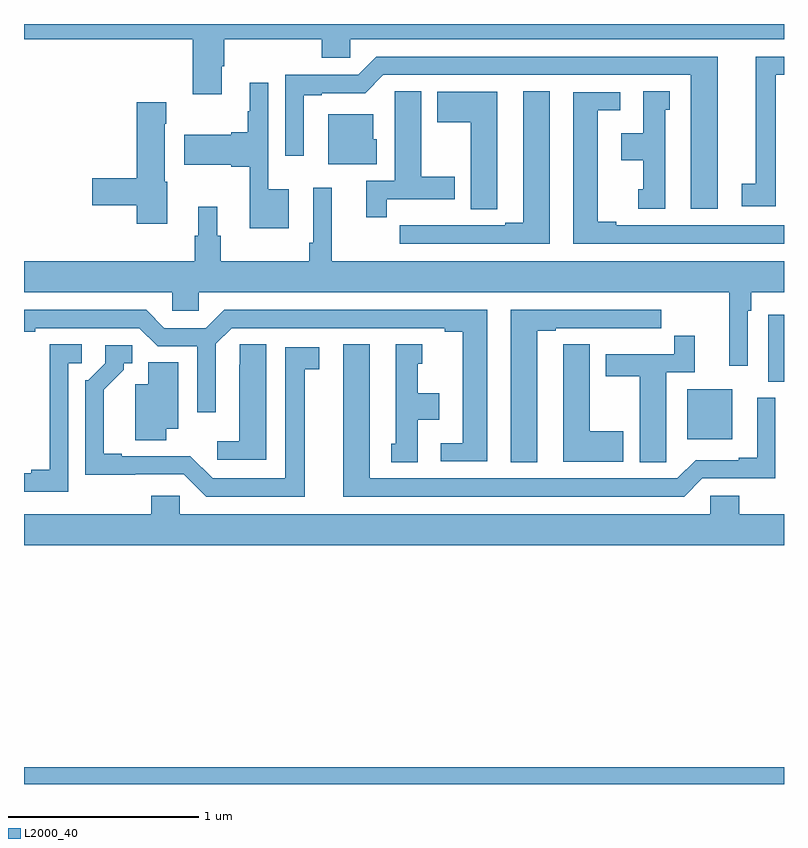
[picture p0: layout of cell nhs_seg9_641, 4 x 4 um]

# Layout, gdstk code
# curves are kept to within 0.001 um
import gdstk
lib = gdstk.Library(unit=1e-6, precision=1e-09)
def R(c, l, rs):  # rectangles x0, y0, x1, y1
    for r in rs: c.add(gdstk.rectangle(r[:2], r[2:], *l))
def P(c, l, *ps):  # polygons
    for p in ps: c.add(gdstk.Polygon(p, *l))
L2000_40 = (2000, 40)

nhs_seg9_641 = lib.new_cell('nhs_seg9_641')
R(nhs_seg9_641, L2000_40, [(143,1192.5,147,1192.588), (146.492,1194.314,146.728,1194.577), (146.918,1194.617,147,1194.97)])
P(nhs_seg9_641, L2000_40, [(144.04,1196.278),(144.053,1196.278),(144.053,1196.42),(144.566,1196.42),(144.566,1196.322),(144.717,1196.322),(144.717,1196.42),(147,1196.42),(147,1196.5),(143,1196.5),(143,1196.42),(143.888,1196.42),(143.888,1196.13),(144.04,1196.13)],
  [(146.65,1196.328),(144.855,1196.328),(144.759,1196.232),(144.375,1196.232),(144.375,1195.806),(144.472,1195.806),(144.472,1196.124),(144.568,1196.124),(144.568,1196.136),(144.795,1196.136),(144.891,1196.232),(146.51,1196.232),(146.51,1195.527),(146.65,1195.527)],
  [(146.956,1196.232),(147,1196.232),(147,1196.328),(146.852,1196.328),(146.852,1195.658),(146.778,1195.658),(146.778,1195.542),(146.956,1195.542)],
  [(144.394,1195.63),(144.285,1195.63),(144.285,1196.191),(144.188,1196.191),(144.188,1196.042),(144.177,1196.042),(144.177,1195.931),(144.092,1195.931),(144.092,1195.918),(143.844,1195.918),(143.844,1195.76),(144.092,1195.76),(144.092,1195.748),(144.188,1195.748),(144.188,1195.424),(144.394,1195.424)],
  [(144.908,1195.578),(145.267,1195.578),(145.267,1195.695),(145.09,1195.695),(145.09,1196.147),(144.951,1196.147),(144.951,1196.036),(144.95,1196.036),(144.95,1195.674),(144.8,1195.674),(144.8,1195.482),(144.908,1195.482)],
  [(146.374,1196.049),(146.398,1196.049),(146.398,1196.147),(146.258,1196.147),(146.258,1195.924),(146.144,1195.924),(146.144,1195.784),(146.258,1195.784),(146.258,1195.629),(146.234,1195.629),(146.234,1195.527),(146.374,1195.527)],
  [(145.768,1196.147),(145.628,1196.147),(145.628,1195.455),(145.532,1195.455),(145.532,1195.44),(145.256,1195.44),(145.256,1195.441),(145.09,1195.441),(145.09,1195.44),(144.978,1195.44),(144.978,1195.344),(145.768,1195.344)],
  [(145.491,1195.633),(145.492,1195.633),(145.492,1196.143),(145.175,1196.143),(145.175,1195.984),(145.352,1195.984),(145.352,1195.525),(145.491,1195.525)],
  [(147,1195.44),(146.116,1195.44),(146.116,1195.46),(146.02,1195.46),(146.02,1196.046),(146.137,1196.046),(146.137,1196.142),(145.892,1196.142),(145.892,1195.344),(147,1195.344)],
  [(143.754,1195.671),(143.74,1195.671),(143.74,1195.976),(143.748,1195.976),(143.748,1196.089),(143.594,1196.089),(143.594,1195.688),(143.358,1195.688),(143.358,1195.546),(143.594,1195.546),(143.594,1195.448),(143.754,1195.448)],
  [(144.856,1195.893),(144.838,1195.893),(144.838,1196.026),(144.602,1196.026),(144.602,1195.763),(144.856,1195.763)],
  [(146.808,1194.992),(146.828,1194.992),(146.828,1195.088),(147,1195.088),(147,1195.252),(144.62,1195.252),(144.62,1195.639),(144.522,1195.639),(144.522,1195.348),(144.502,1195.348),(144.502,1195.252),(144.035,1195.252),(144.035,1195.386),(144.016,1195.386),(144.016,1195.537),(143.918,1195.537),(143.918,1195.386),(143.899,1195.386),(143.899,1195.252),(143,1195.252),(143,1195.088),(143.781,1195.088),(143.781,1194.99),(143.919,1194.99),(143.919,1195.088),(146.711,1195.088),(146.711,1194.702),(146.808,1194.702)],
  [(145.438,1194.996),(144.053,1194.996),(143.957,1194.9),(143.739,1194.9),(143.643,1194.996),(143,1194.996),(143,1194.88),(143.059,1194.88),(143.059,1194.9),(143.607,1194.9),(143.703,1194.804),(143.913,1194.804),(143.913,1194.456),(144.009,1194.456),(144.009,1194.816),(144.093,1194.9),(145.214,1194.9),(145.214,1194.88),(145.31,1194.88),(145.31,1194.294),(145.194,1194.294),(145.194,1194.198),(145.438,1194.198)],
  [(145.702,1194.885),(145.798,1194.885),(145.798,1194.9),(146.074,1194.9),(146.074,1194.899),(146.24,1194.899),(146.24,1194.9),(146.353,1194.9),(146.353,1194.996),(145.562,1194.996),(145.562,1194.193),(145.702,1194.193)],
  [(146.379,1194.304),(146.38,1194.304),(146.38,1194.666),(146.531,1194.666),(146.531,1194.859),(146.422,1194.859),(146.422,1194.762),(146.063,1194.762),(146.063,1194.646),(146.24,1194.646),(146.24,1194.193),(146.379,1194.193)],
  [(143.232,1194.714),(143.305,1194.714),(143.305,1194.815),(143.135,1194.815),(143.135,1194.155),(143.039,1194.155),(143.039,1194.135),(143,1194.135),(143,1194.039),(143.232,1194.039)],
  [(144.274,1194.815),(144.135,1194.815),(144.135,1194.707),(144.134,1194.707),(144.134,1194.304),(144.018,1194.304),(144.018,1194.207),(144.274,1194.207)],
  [(146.155,1194.357),(145.978,1194.357),(145.978,1194.815),(145.839,1194.815),(145.839,1194.707),(145.838,1194.707),(145.838,1194.197),(146.155,1194.197)],
  [(145.072,1194.416),(145.186,1194.416),(145.186,1194.556),(145.072,1194.556),(145.072,1194.711),(145.096,1194.711),(145.096,1194.814),(144.956,1194.814),(144.956,1194.291),(144.932,1194.291),(144.932,1194.193),(145.072,1194.193)],
  [(146.571,1194.108),(146.955,1194.108),(146.955,1194.532),(146.858,1194.532),(146.858,1194.217),(146.762,1194.217),(146.762,1194.204),(146.535,1194.204),(146.439,1194.108),(144.82,1194.108),(144.82,1194.814),(144.68,1194.814),(144.68,1194.012),(146.475,1194.012)],
  [(144.478,1194.682),(144.553,1194.682),(144.553,1194.798),(144.374,1194.798),(144.374,1194.108),(143.994,1194.108),(143.876,1194.226),(143.515,1194.225),(143.515,1194.238),(143.419,1194.238),(143.419,1194.574),(143.524,1194.679),(143.524,1194.714),(143.569,1194.714),(143.569,1194.81),(143.427,1194.81),(143.427,1194.714),(143.337,1194.624),(143.322,1194.624),(143.322,1194.128),(143.841,1194.129),(143.958,1194.012),(144.478,1194.012)],
  [(143.749,1194.371),(143.812,1194.371),(143.812,1194.719),(143.654,1194.719),(143.654,1194.604),(143.585,1194.604),(143.585,1194.31),(143.749,1194.31)],
  [(147,1193.92),(146.765,1193.92),(146.765,1194.018),(146.613,1194.018),(146.613,1193.92),(143.82,1193.92),(143.82,1194.018),(143.669,1194.018),(143.669,1193.92),(143,1193.92),(143,1193.756),(147,1193.756)])

lib.write_gds('nhs_seg9_641.gds')
